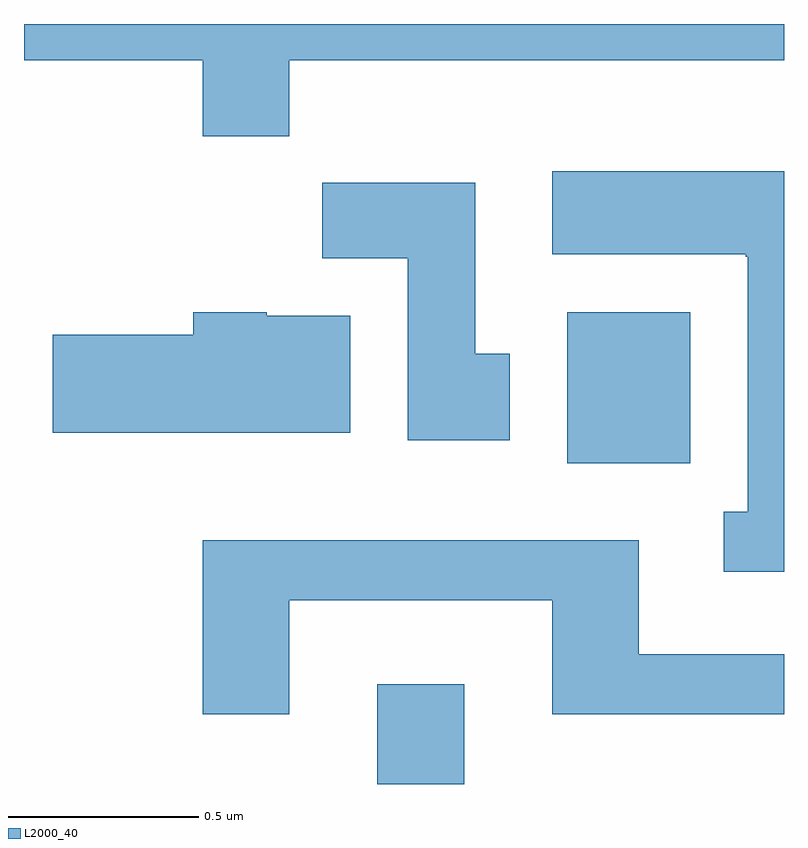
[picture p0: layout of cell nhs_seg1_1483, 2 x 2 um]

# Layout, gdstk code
import gdstk
lib = gdstk.Library(unit=1e-6, precision=1e-09)
def R(c, l, rs):  # rectangles x0, y0, x1, y1
    for r in rs: c.add(gdstk.rectangle(r[:2], r[2:], *l))
def P(c, l, *ps):  # polygons
    for p in ps: c.add(gdstk.Polygon(p, *l))
L2000_40 = (2000, 40)

nhs_seg1_1483 = lib.new_cell('nhs_seg1_1483')
R(nhs_seg1_1483, L2000_40, [(196.541,968.712,196.769,968.974), (197.041,969.556,197.364,969.954)])
P(nhs_seg1_1483, L2000_40, [(196.309,970.616),(197.611,970.616),(197.611,970.712),(195.611,970.712),(195.611,970.616),(196.081,970.616),(196.081,970.416),(196.309,970.416)],
  [(197.611,970.324),(197.001,970.324),(197.001,970.106),(197.51,970.106),(197.51,970.1),(197.516,970.1),(197.516,969.429),(197.453,969.429),(197.453,969.271),(197.611,969.271)],
  [(196.889,969.844),(196.799,969.844),(196.799,970.294),(196.396,970.294),(196.396,970.096),(196.621,970.096),(196.621,969.616),(196.889,969.616)],
  [(196.469,969.944),(196.25,969.944),(196.25,969.954),(196.056,969.954),(196.056,969.894),(195.686,969.894),(195.686,969.636),(196.469,969.636)],
  [(196.309,969.196),(197.001,969.196),(197.001,968.896),(197.611,968.896),(197.611,969.054),(197.229,969.054),(197.229,969.354),(196.081,969.354),(196.081,968.896),(196.309,968.896)])

lib.write_gds('nhs_seg1_1483.gds')
